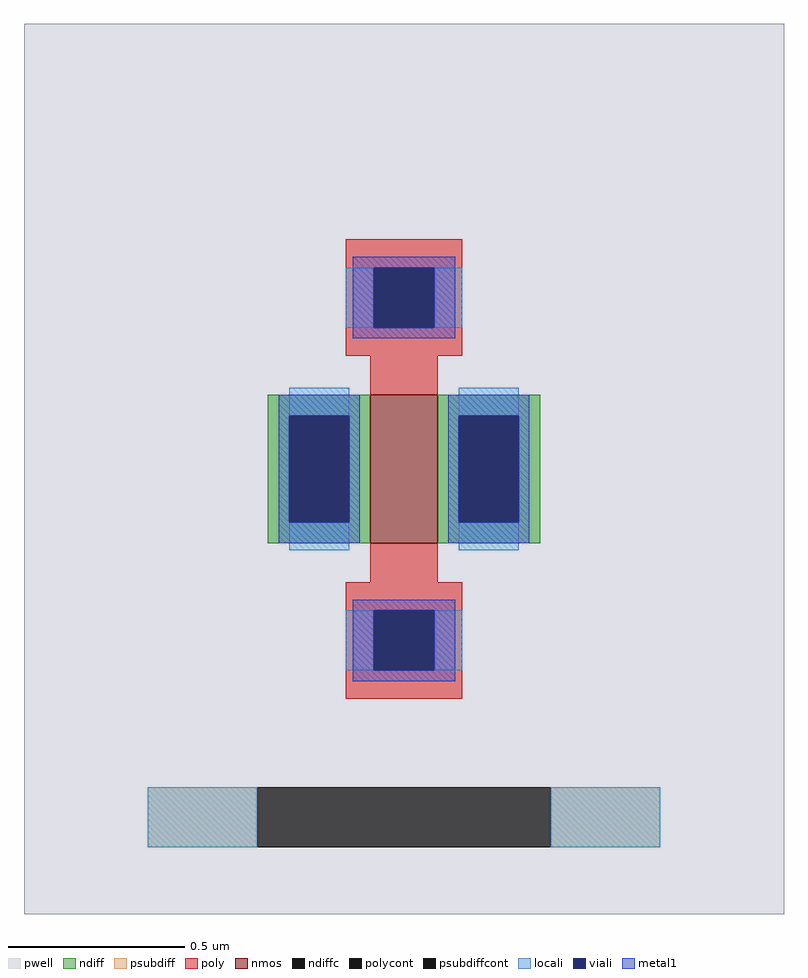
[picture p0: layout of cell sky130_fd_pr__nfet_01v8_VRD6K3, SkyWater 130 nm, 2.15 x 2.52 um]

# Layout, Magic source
magic
tech sky130A
magscale 1 2
<< pwell >>
rect -215 -252 215 252
<< nmos >>
rect -19 -42 19 42
<< ndiff >>
rect -77 30 -19 42
rect -77 -30 -65 30
rect -31 -30 -19 30
rect -77 -42 -19 -30
rect 19 30 77 42
rect 19 -30 31 30
rect 65 -30 77 30
rect 19 -42 77 -30
<< ndiffc >>
rect -65 -30 -31 30
rect 31 -30 65 30
<< psubdiff >>
rect -145 -214 -83 -180
rect 83 -214 145 -180
<< psubdiffcont >>
rect -83 -214 83 -180
<< poly >>
rect -33 114 33 130
rect -33 80 -17 114
rect 17 80 33 114
rect -33 64 33 80
rect -19 42 19 64
rect -19 -64 19 -42
rect -33 -80 33 -64
rect -33 -114 -17 -80
rect 17 -114 33 -80
rect -33 -130 33 -114
<< polycont >>
rect -17 80 17 114
rect -17 -114 17 -80
<< locali >>
rect -33 80 -17 114
rect 17 80 33 114
rect -65 30 -31 46
rect -65 -46 -31 -30
rect 31 30 65 46
rect 31 -46 65 -30
rect -33 -114 -17 -80
rect 17 -114 33 -80
rect -145 -214 -83 -180
rect 83 -214 145 -180
<< viali >>
rect -17 80 17 114
rect -65 -30 -31 30
rect 31 -30 65 30
rect -17 -114 17 -80
<< metal1 >>
rect -29 114 29 120
rect -29 80 -17 114
rect 17 80 29 114
rect -29 74 29 80
rect -71 30 -25 42
rect -71 -30 -65 30
rect -31 -30 -25 30
rect -71 -42 -25 -30
rect 25 30 71 42
rect 25 -30 31 30
rect 65 -30 71 30
rect 25 -42 71 -30
rect -29 -80 29 -74
rect -29 -114 -17 -80
rect 17 -114 29 -80
rect -29 -120 29 -114
<< properties >>
string FIXED_BBOX -162 -199 162 199
string gencell sky130_fd_pr__nfet_01v8
string library sky130
string parameters w 0.42 l 0.193 m 1 nf 1 diffcov 100 polycov 100 guard 1 glc 1 grc 1 gtc 1 gbc 1 tbcov 100 rlcov 100 topc 1 botc 1 poverlap 0 doverlap 1 lmin 0.15 wmin 0.42 compatible {sky130_fd_pr__nfet_01v8 sky130_fd_pr__nfet_01v8_lvt  sky130_fd_bs_flash__special_sonosfet_star  sky130_fd_pr__nfet_g5v0d10v5 sky130_fd_pr__nfet_05v0_nvt  sky130_fd_pr__nfet_03v3_nvt} full_metal 1 viasrc 100 viadrn 100 viagate 100 viagb 0 viagr 0 viagl 0 viagt 0
<< end >>
